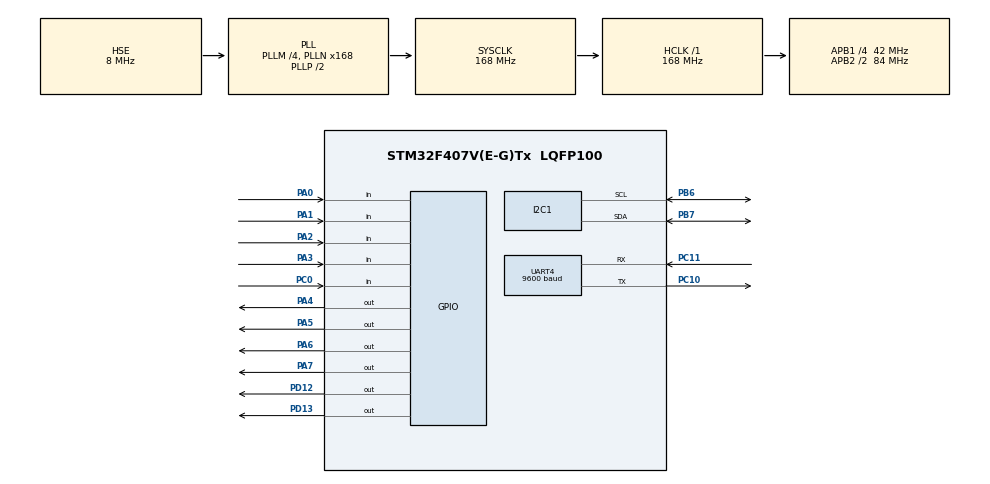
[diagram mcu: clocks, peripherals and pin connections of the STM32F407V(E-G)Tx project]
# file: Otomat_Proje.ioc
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Mcu.Family=STM32F4
Mcu.Name=STM32F407V(E-G)Tx
Mcu.Package=LQFP100
NVIC.PriorityGroup=NVIC_PRIORITYGROUP_4
NVIC.UART4_IRQn=true\:1\:0\:true\:false\:true\:true\:true
PA0-WKUP.GPIO_PuPd=GPIO_PULLUP
PA0-WKUP.Signal=GPIO_Input
PA1.GPIO_PuPd=GPIO_PULLUP
PA1.Signal=GPIO_Input
PA2.GPIO_PuPd=GPIO_PULLUP
PA2.Signal=GPIO_Input
PA3.GPIO_PuPd=GPIO_PULLUP
PA3.Signal=GPIO_Input
PA4.Signal=GPIO_Output
PA5.Signal=GPIO_Output
PA6.Signal=GPIO_Output
PA7.Signal=GPIO_Output
PB6.Mode=I2C
PB6.Signal=I2C1_SCL
PB7.Mode=I2C
PB7.Signal=I2C1_SDA
PC0.GPIO_PuPd=GPIO_NOPULL
PC0.Signal=GPIO_Input
PC10.Mode=Asynchronous
PC10.Signal=UART4_TX
PC11.Mode=Asynchronous
PC11.Signal=UART4_RX
PD12.Signal=GPIO_Output
PD13.Signal=GPIO_Output
PH0-OSC_IN.Mode=HSE-External-Oscillator
PH0-OSC_IN.Signal=RCC_OSC_IN
PH1-OSC_OUT.Mode=HSE-External-Oscillator
PH1-OSC_OUT.Signal=RCC_OSC_OUT
ProjectManager.HeapSize=0x200
ProjectManager.StackSize=0x400
ProjectManager.TargetToolchain=STM32CubeIDE
RCC.48MHZClocksFreq_Value=84000000
RCC.AHBFreq_Value=168000000
RCC.APB1CLKDivider=RCC_HCLK_DIV4
RCC.APB1Freq_Value=42000000
RCC.APB1TimFreq_Value=84000000
RCC.APB2CLKDivider=RCC_HCLK_DIV2
RCC.APB2Freq_Value=84000000
RCC.APB2TimFreq_Value=168000000
RCC.CortexFreq_Value=168000000
RCC.HCLKFreq_Value=168000000
RCC.HSE_VALUE=8000000
RCC.HSI_VALUE=16000000
RCC.LSE_VALUE=32768
RCC.PLLM=4
RCC.PLLN=168
RCC.PLLSourceVirtual=RCC_PLLSOURCE_HSE
RCC.SYSCLKFreq_VALUE=168000000
RCC.SYSCLKSource=RCC_SYSCLKSOURCE_PLLCLK
RCC.VCOOutputFreq_Value=336000000
UART4.BaudRate=9600
UART4.Mode=MODE_RX
UART4.VirtualMode=Asynchronous
board=custom

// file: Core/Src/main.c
/* USER CODE BEGIN Header */
/**
  ******************************************************************************
  * @file           : main.c
  * @brief          : Main program body
  ******************************************************************************
  * @attention
  *
  * <h2><center>&copy; Copyright (c) 2021 STMicroelectronics.
  * All rights reserved.</center></h2>
  *
  * This software component is licensed by ST under BSD 3-Clause license,
  * the "License"; You may not use this file except in compliance with the
  * License. You may obtain a copy of the License at:
  *                        opensource.org/licenses/BSD-3-Clause
  *
  ******************************************************************************
  */
/* USER CODE END Header */
#include "main.h"

/* USER CODE BEGIN Includes */
#include "I2C_Lcd.h"
#include "keypad.h"
/* USER CODE END Includes */

/* USER CODE BEGIN PD */

#define LEN	15

/* USER CODE END PD */

I2C_HandleTypeDef hi2c1;

UART_HandleTypeDef huart4;

/* USER CODE BEGIN PV */
char Key;
char SignificantKey[3];
int cntKey = 0;

uint8_t adres;

int coin;

volatile int QrFlag = 3;
volatile int cnt;
volatile int timer;
/* USER CODE END PV */

void SystemClock_Config(void);
static void MX_GPIO_Init(void);
static void MX_I2C1_Init(void);
static void MX_UART4_Init(void);
/* USER CODE BEGIN PFP */

void FindSlave();
void EntrySentence();
void SuccesQrSentence();
/* USER CODE END PFP */

int main(void)
{

  /* MCU Configuration--------------------------------------------------------*/

  /* Reset of all peripherals, Initializes the Flash interface and the Systick. */
  HAL_Init();

  /* Configure the system clock */
  SystemClock_Config();

  /* Initialize all configured peripherals */
  MX_GPIO_Init();
  MX_I2C1_Init();
  MX_UART4_Init();
  /* USER CODE BEGIN 2 */
  lcd_init();

  /* USER CODE END 2 */

  /* Infinite loop */
  /* USER CODE BEGIN WHILE */
  while (1)
  {
	EntrySentence();

	if(QrFlag == 1){

		//İşlemler yapılırken yeni bir QR kodun gelip akışı bozmaması için interrupt kapatılır. İşlemler sonunda tekrar açılır.
		CLEAR_BIT(UART4->CR1, USART_CR1_RXNEIE);
		//Başarıyla okunan Qr kodun giriş cümle fonksiyonu
		SuccesQrSentence();

		do{
		//Keypad ile ürün seçimi
		do{
		Key = read_keypad ();
		if (Key!=0x01)
			{
				if(cntKey == 3) //Lcd ekrana şifreyi sırayla girmek ve diziye kaydetmek için sayaç.
					cntKey = 0;
				lcd_send_cmd (0x80|(0x60+cntKey));
				lcd_send_data(Key);
				SignificantKey[cntKey++] = Key;
			}
		}while(Key != '*' && cntKey != 3 ); //

		Key = atoi(SignificantKey); //Dizi içerisindeki int tam sayı değeri kaydediliyor.

		//Devamı SwitchCase yapısıyla motor hareket ettimek...
		switch(Key){
		case 1:
			lcd_send_cmd (0x80|0x40);
			lcd_send_string("1.MOTOR CALISTI");
			break;
		case 2:
			lcd_send_cmd (0x80|0x40);
			lcd_send_string("2.MOTOR CALISTI");
			break;
		case 3:
			lcd_send_cmd (0x80|0x40);
			lcd_send_string("3.MOTOR CALISTI");
			break;
		case 4:
			lcd_send_cmd (0x80|0x40);
			lcd_send_string("4.MOTOR CALISTI");
			break;
		case 5:
			lcd_send_cmd (0x80|0x40);
			lcd_send_string("5.MOTOR CALISTI");
			break;
		case 6:
			lcd_send_cmd (0x80|0x40);
			lcd_send_string("6.MOTOR CALISTI");
			break;
		case 7:
			lcd_send_cmd (0x80|0x40);
			lcd_send_string("7.MOTOR CALISTI");
			break;
		case 8:
			lcd_send_cmd (0x80|0x40);
			lcd_send_string("8.MOTOR CALISTI");
			break;
		case 9:
			lcd_send_cmd (0x80|0x40);
			lcd_send_string("9.MOTOR CALISTI");
			break;
		case 10:
			lcd_send_cmd (0x80|0x40);
			lcd_send_string("10.MOTOR CALISTI");
			break;
		case 11:
			lcd_send_cmd (0x80|0x40);
			lcd_send_string("11.MOTOR CALISTI");
			break;
		case 12:
			lcd_send_cmd (0x80|0x40);
			lcd_send_string("12.MOTOR CALISTI");
			break;
		case 13:
			lcd_send_cmd (0x80|0x40);
			lcd_send_string("13.MOTOR CALISTI");
			break;
		case 14:
			lcd_send_cmd (0x80|0x40);
			lcd_send_string("14.MOTOR CALISTI");
			break;
		case 15:
			lcd_send_cmd (0x80|0x40);
			lcd_send_string("15.MOTOR CALISTI");
			break;
		case 16:
			lcd_send_cmd (0x80|0x40);
			lcd_send_string("16.MOTOR CALISTI");
			break;
		case 17:
			lcd_send_cmd (0x80|0x40);
			lcd_send_string("17.MOTOR CALISTI");
			break;
		case 18:
			lcd_send_cmd (0x80|0x40);
			lcd_send_string("18.MOTOR CALISTI");
			break;
		case 19:
			lcd_send_cmd (0x80|0x40);
			lcd_send_string("19.MOTOR CALISTI");
			break;
		case 20:
			lcd_send_cmd (0x80|0x40);
			lcd_send_string("20.MOTOR CALISTI");
			break;
		case 21:
			lcd_send_cmd (0x80|0x40);
			lcd_send_string("21.MOTOR CALISTI");
			break;
		case 22:
			lcd_send_cmd (0x80|0x40);
			lcd_send_string("22.MOTOR CALISTI");
			break;
		case 23:
			lcd_send_cmd (0x80|0x40);
			lcd_send_string("23.MOTOR CALISTI");
			break;
		case 24:
			lcd_send_cmd (0x80|0x40);
			lcd_send_string("24.MOTOR CALISTI");
			break;
		case 25:
			lcd_send_cmd (0x80|0x40);
			lcd_send_string("25.MOTOR CALISTI");
			break;
		default:
			Key = 0, cntKey = 0;
			lcd_clear();
			lcd_send_cmd (0x80|0x40);
			lcd_send_string("Hatali Giris!");

			lcd_send_cmd (0x80|0x14);
			lcd_send_string("  Tekrar Giriniz...  ");
			HAL_Delay(2000);

			lcd_send_cmd (0x80|0x00);
			lcd_send_string("  Urun No yazarak-  ");

			lcd_send_cmd (0x80|0x40);
			lcd_send_string("sonuna * koyunuz.");

			lcd_send_cmd (0x80|0x14);
			lcd_send_string("   Ornek:  12*   ");

			lcd_send_cmd (0x80|0x54);
			lcd_send_string("URUN NO:");
			break;
		}}while(!(Key>0 && Key<26));

		Key = 0, cntKey = 0, cnt = 0, QrFlag = 3;
		HAL_Delay(5000);
		//memset(SignificantKey, 0, sizeof(SignificantKey));
		lcd_clear();
		SET_BIT(UART4->CR1, USART_CR1_RXNEIE);
	}

	else if(QrFlag == 0 && timer== 0){ //Verilerin alımı bitmeden buraya girmemesi için timer koyuldu.
		CLEAR_BIT(UART4->CR1, USART_CR1_RXNEIE);
		lcd_clear();

		lcd_send_cmd (0x80|0x40);
		lcd_send_string("QrCode tanimlaniyor...");
		HAL_Delay(3000);

		lcd_send_cmd (0x80|0x40);
		lcd_send_string("   QR KOD HATALI   ");

		lcd_send_cmd (0x80|0x14);
		lcd_send_string("Tekrar Deneyiniz.");

		HAL_Delay(3000);
		cnt = 0, QrFlag = 3;
		SET_BIT(UART4->CR1, USART_CR1_RXNEIE);
	}

	/*
 	Key = read_keypad ();
	if (Key!=0x01)
	{
		key2 = Key;
	}
	 */

	/*coin= HAL_GPIO_ReadPin(GPIOC,GPIO_PIN_0);
	if(coin == 1){

		lcd_clear();

		lcd_send_cmd (0x80|0x40);
		lcd_send_string("Para tanimlaniyor...");
		HAL_Delay(3000);

		lcd_send_cmd (0x80|0x40);
		lcd_send_string("Para tanimlandi.1TL.");

		lcd_send_cmd (0x80|0x14);
		lcd_send_string("Urun seciniz!");

	  }*/

    /* USER CODE END WHILE */

  }
}

void SystemClock_Config(void)
{
  RCC_OscInitTypeDef RCC_OscInitStruct = {0};
  RCC_ClkInitTypeDef RCC_ClkInitStruct = {0};

  /** Configure the main internal regulator output voltage
  */
  __HAL_RCC_PWR_CLK_ENABLE();
  __HAL_PWR_VOLTAGESCALING_CONFIG(PWR_REGULATOR_VOLTAGE_SCALE1);
  /** Initializes the RCC Oscillators according to the specified parameters
  * in the RCC_OscInitTypeDef structure.
  */
  RCC_OscInitStruct.OscillatorType = RCC_OSCILLATORTYPE_HSE;
  RCC_OscInitStruct.HSEState = RCC_HSE_ON;
  RCC_OscInitStruct.PLL.PLLState = RCC_PLL_ON;
  RCC_OscInitStruct.PLL.PLLSource = RCC_PLLSOURCE_HSE;
  RCC_OscInitStruct.PLL.PLLM = 4;
  RCC_OscInitStruct.PLL.PLLN = 168;
  RCC_OscInitStruct.PLL.PLLP = RCC_PLLP_DIV2;
  RCC_OscInitStruct.PLL.PLLQ = 4;
  if (HAL_RCC_OscConfig(&RCC_OscInitStruct) != HAL_OK)
  {
    Error_Handler();
  }
  /** Initializes the CPU, AHB and APB buses clocks
  */
  RCC_ClkInitStruct.ClockType = RCC_CLOCKTYPE_HCLK|RCC_CLOCKTYPE_SYSCLK
                              |RCC_CLOCKTYPE_PCLK1|RCC_CLOCKTYPE_PCLK2;
  RCC_ClkInitStruct.SYSCLKSource = RCC_SYSCLKSOURCE_PLLCLK;
  RCC_ClkInitStruct.AHBCLKDivider = RCC_SYSCLK_DIV1;
  RCC_ClkInitStruct.APB1CLKDivider = RCC_HCLK_DIV4;
  RCC_ClkInitStruct.APB2CLKDivider = RCC_HCLK_DIV2;

  if (HAL_RCC_ClockConfig(&RCC_ClkInitStruct, FLASH_LATENCY_5) != HAL_OK)
  {
    Error_Handler();
  }
}

static void MX_I2C1_Init(void)
{

  hi2c1.Instance = I2C1;
  hi2c1.Init.ClockSpeed = 100000;
  hi2c1.Init.DutyCycle = I2C_DUTYCYCLE_2;
  hi2c1.Init.OwnAddress1 = 0;
  hi2c1.Init.AddressingMode = I2C_ADDRESSINGMODE_7BIT;
  hi2c1.Init.DualAddressMode = I2C_DUALADDRESS_DISABLE;
  hi2c1.Init.OwnAddress2 = 0;
  hi2c1.Init.GeneralCallMode = I2C_GENERALCALL_DISABLE;
  hi2c1.Init.NoStretchMode = I2C_NOSTRETCH_DISABLE;
  if (HAL_I2C_Init(&hi2c1) != HAL_OK)
  {
    Error_Handler();
  }

}

static void MX_UART4_Init(void)
{

  huart4.Instance = UART4;
  huart4.Init.BaudRate = 9600;
  huart4.Init.WordLength = UART_WORDLENGTH_8B;
  huart4.Init.StopBits = UART_STOPBITS_1;
  huart4.Init.Parity = UART_PARITY_NONE;
  huart4.Init.Mode = UART_MODE_RX;
  huart4.Init.HwFlowCtl = UART_HWCONTROL_NONE;
  huart4.Init.OverSampling = UART_OVERSAMPLING_16;
  if (HAL_UART_Init(&huart4) != HAL_OK)
  {
    Error_Handler();
  }
  /* USER CODE BEGIN UART4_Init 2 */

  /* Enable UART Receive Data Register Not Empty */
  SET_BIT(UART4->CR1, USART_CR1_RXNEIE);

  /* USER CODE END UART4_Init 2 */

}

static void MX_GPIO_Init(void)
{
  GPIO_InitTypeDef GPIO_InitStruct = {0};

  /* GPIO Ports Clock Enable */
  __HAL_RCC_GPIOH_CLK_ENABLE();
  __HAL_RCC_GPIOC_CLK_ENABLE();
  __HAL_RCC_GPIOA_CLK_ENABLE();
  __HAL_RCC_GPIOD_CLK_ENABLE();
  __HAL_RCC_GPIOB_CLK_ENABLE();

  /*Configure GPIO pin Output Level */
  HAL_GPIO_WritePin(GPIOA, GPIO_PIN_4|GPIO_PIN_5|GPIO_PIN_6|GPIO_PIN_7, GPIO_PIN_RESET);

  /*Configure GPIO pin Output Level */
  HAL_GPIO_WritePin(GPIOD, GPIO_PIN_12|GPIO_PIN_13, GPIO_PIN_RESET);

  /*Configure GPIO pin : PC0 */
  GPIO_InitStruct.Pin = GPIO_PIN_0;
  GPIO_InitStruct.Mode = GPIO_MODE_INPUT;
  GPIO_InitStruct.Pull = GPIO_NOPULL;
  HAL_GPIO_Init(GPIOC, &GPIO_InitStruct);

  /*Configure GPIO pins : PA0 PA1 PA2 PA3 */
  GPIO_InitStruct.Pin = GPIO_PIN_0|GPIO_PIN_1|GPIO_PIN_2|GPIO_PIN_3;
  GPIO_InitStruct.Mode = GPIO_MODE_INPUT;
  GPIO_InitStruct.Pull = GPIO_PULLUP;
  HAL_GPIO_Init(GPIOA, &GPIO_InitStruct);

  /*Configure GPIO pins : PA4 PA5 PA6 PA7 */
  GPIO_InitStruct.Pin = GPIO_PIN_4|GPIO_PIN_5|GPIO_PIN_6|GPIO_PIN_7;
  GPIO_InitStruct.Mode = GPIO_MODE_OUTPUT_PP;
  GPIO_InitStruct.Pull = GPIO_NOPULL;
  GPIO_InitStruct.Speed = GPIO_SPEED_FREQ_LOW;
  HAL_GPIO_Init(GPIOA, &GPIO_InitStruct);

  /*Configure GPIO pins : PD12 PD13 */
  GPIO_InitStruct.Pin = GPIO_PIN_12|GPIO_PIN_13;
  GPIO_InitStruct.Mode = GPIO_MODE_OUTPUT_PP;
  GPIO_InitStruct.Pull = GPIO_NOPULL;
  GPIO_InitStruct.Speed = GPIO_SPEED_FREQ_LOW;
  HAL_GPIO_Init(GPIOD, &GPIO_InitStruct);

}

/* USER CODE BEGIN 4 */

void FindSlave(){

	for(adres = 0; adres <=255; adres++){
		if(HAL_I2C_IsDeviceReady(&hi2c1,adres,1,100) == HAL_OK)
			break;
	}
}

void EntrySentence(){
	lcd_send_cmd (0x80|0x00);
	lcd_send_string("Hosgeldiniz!");
	lcd_send_cmd (0x80|0x40);
	lcd_send_string("Hediye icin Barkod");
	lcd_send_cmd (0x80|0x14);
	lcd_send_string("okutunuz. Urun almak");
	lcd_send_cmd (0x80|0x54);
	lcd_send_string("icin TL atiniz.");
}

void SuccesQrSentence(){
	lcd_clear();

	lcd_send_cmd (0x80|0x40);
	lcd_send_string("QrCode tanimlaniyor...");
	HAL_Delay(2000);

	lcd_send_cmd (0x80|0x40);
	lcd_send_string("QR Kod tanimlandi...");
	HAL_Delay(2000);

	lcd_send_cmd (0x80|0x00);
	lcd_send_string("  Urun No yazarak-  ");

	lcd_send_cmd (0x80|0x40);
	lcd_send_string("sonuna * koyunuz.");

	lcd_send_cmd (0x80|0x14);
	lcd_send_string("   Ornek:  12*   ");

	lcd_send_cmd (0x80|0x54);
	lcd_send_string("URUN NO:");
}

/* USER CODE END 4 */

void Error_Handler(void)
{
  __disable_irq();
  while (1)
  {
  }
}

/************************ (C) COPYRIGHT STMicroelectronics *****END OF FILE****/
